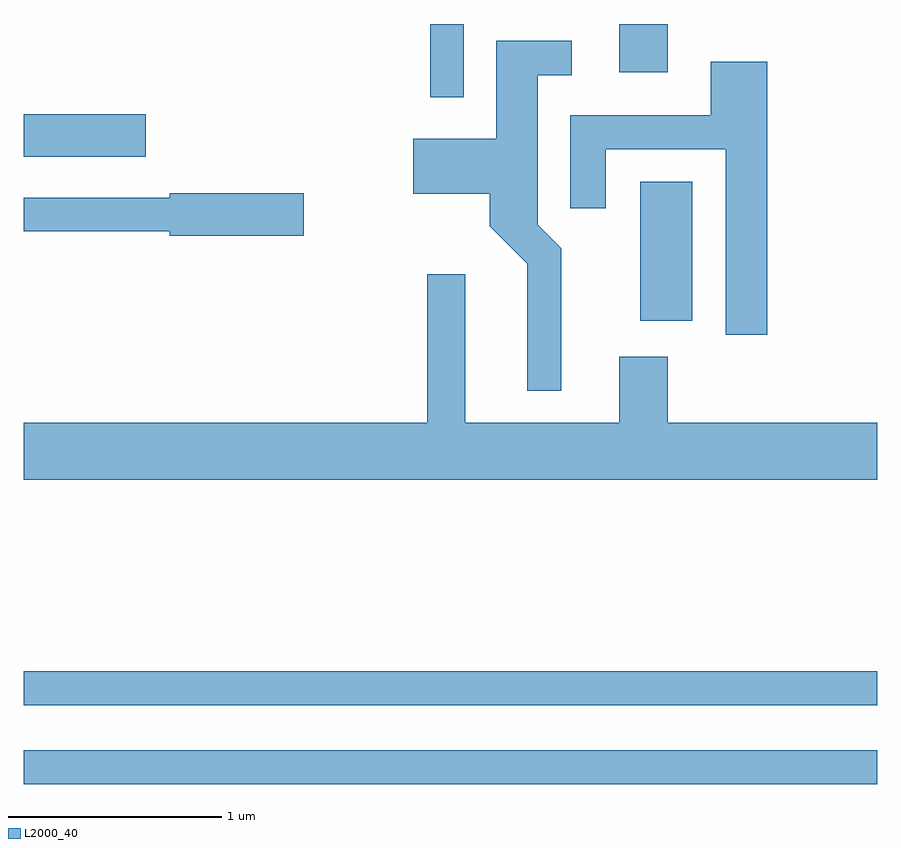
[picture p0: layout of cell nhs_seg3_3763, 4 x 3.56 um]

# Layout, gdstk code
import gdstk
lib = gdstk.Library(unit=1e-6, precision=1e-09)
def R(c, l, rs):  # rectangles x0, y0, x1, y1
    for r in rs: c.add(gdstk.rectangle(r[:2], r[2:], *l))
def P(c, l, *ps):  # polygons
    for p in ps: c.add(gdstk.Polygon(p, *l))
L2000_40 = (2000, 40)

nhs_seg3_3763 = lib.new_cell('nhs_seg3_3763')
R(nhs_seg3_3763, L2000_40, [(295.611,1162.331,299.611,1162.489), (295.611,1162.701,299.611,1162.859), (298.501,1164.501,298.744,1165.154), (295.611,1165.271,296.184,1165.469), (297.516,1165.548,297.674,1165.892), (298.401,1165.666,298.629,1165.892)])
P(nhs_seg3_3763, L2000_40, [(298.129,1164.842),(298.019,1164.952),(298.019,1165.651),(298.178,1165.651),(298.178,1165.814),(297.826,1165.814),(297.826,1165.354),(297.436,1165.354),(297.436,1165.096),(297.796,1165.096),(297.796,1164.944),(297.971,1164.769),(297.971,1164.173),(298.129,1164.173)],
  [(299.094,1165.714),(298.831,1165.714),(298.831,1165.464),(298.171,1165.464),(298.171,1165.028),(298.339,1165.028),(298.339,1165.306),(298.901,1165.306),(298.901,1164.436),(299.094,1164.436)],
  [(296.924,1165.099),(296.296,1165.099),(296.296,1165.079),(295.611,1165.079),(295.611,1164.921),(296.296,1164.921),(296.296,1164.901),(296.924,1164.901)],
  [(299.611,1164.024),(298.629,1164.024),(298.629,1164.334),(298.401,1164.334),(298.401,1164.024),(297.679,1164.024),(297.679,1164.719),(297.501,1164.719),(297.501,1164.024),(295.611,1164.024),(295.611,1163.756),(299.611,1163.756)])

lib.write_gds('nhs_seg3_3763.gds')
